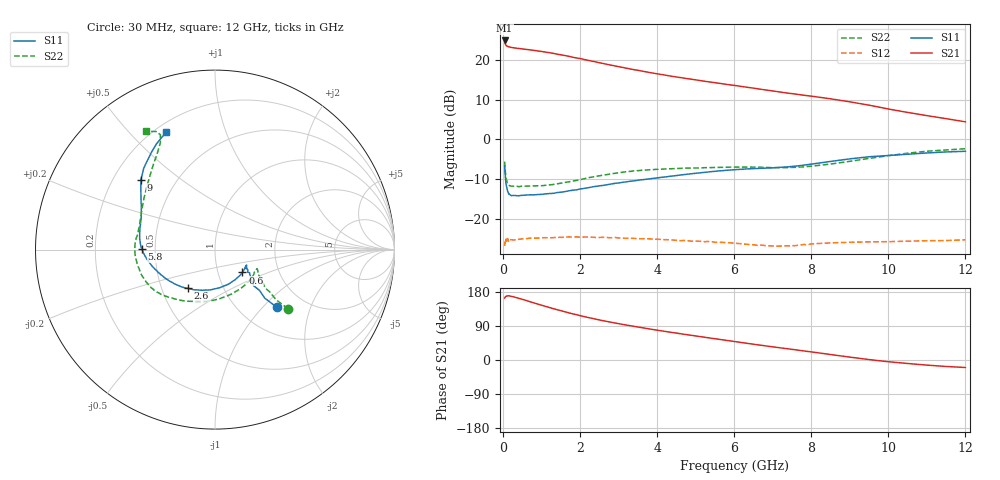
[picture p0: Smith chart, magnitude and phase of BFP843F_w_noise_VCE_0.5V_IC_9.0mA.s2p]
! Infineon Technologies  Discrete & RF Semiconductors
! BFP843F
! VCE =  0.5 V,  IC =  9.0 mA
! Common Emitter S-Parameters:  Aug 2013
# GHz  S  MA  R  50
!  f  S11  S21  S12  S22
! GHz  MAG  ANG  MAG  ANG  MAG  ANG  MAG  ANG
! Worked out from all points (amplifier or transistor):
!   103 points, 30 MHz to 12 GHz, reference 50 ohm
!   highest |S21| = 24.9 dB at 30 MHz (marker M1)
!   |S21| within 3 dB of that: start of sweep to 1.136 GHz
!   unconditionally stable (mu >= 1): 191.2 MHz to 474.6 MHz; 3.479 GHz to end of sweep
!   at 400 MHz: K = 1.00, MAG = 23.6 dB, |S12| = -25.2 dB
!   at 3.7 GHz: K = 1.02, MAG = 20.2 dB, |S12| = -25.0 dB
!   at 12 GHz: K = 1.47, MAG = 10.8 dB, |S12| = -25.3 dB
!   lowest NFmin = 0.79 dB at 450 MHz
!   S11 on the Smith chart (normalised r, x): 30 MHz: 1.46, -1.20; 600 MHz: 1.31, -0.35; 2.6 GHz: 0.68, -0.31; 5.8 GHz: 0.42, +0.00; 9 GHz: 0.32, +0.36; 12 GHz: 0.25, +0.64
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0.03  0.4705 -43.0  17.59 163.4  0.0454 27.8  0.5243 -39.0
0.04  0.3873 -44.3  16.53 164.2  0.0508 23.1  0.4406 -39.4
0.05  0.3357 -42.5  15.79 166.8  0.0479 21.1  0.385 -37.7
0.06  0.2948 -43.1  15.51 167.7  0.0541 18.1  0.3529 -37.4
0.1  0.2311 -33.8  14.8 169.0  0.0533 11.6  0.2824 -30.3
0.13  0.2106 -31.2  14.65 169.4  0.0519 8.4  0.2687 -27.4
0.6  0.1989 -39.9  13.56 156.7  0.0562 2.6  0.2573 -40.6
0.9  0.2018 -56.1  12.97 147.3  0.057 1.8  0.2603 -57.8
1.3  0.2088 -77.4  12.08 135.3  0.0577 0.6  0.2701 -80.4
1.7  0.2245 -95.4  11.1 124.4  0.059 -1.1  0.2915 -99.3
2.1  0.2411 -110.6  10.13 114.4  0.0589 -2.5  0.3186 -115.3
2.6  0.2633 -125.1  9.002 103.5  0.0583 -3.6  0.3552 -129.2
3.2  0.2918 -138.2  7.854 92.0  0.0567 -5.5  0.3917 -140.7
4.1  0.3323 -155.0  6.562 77.0  0.0548 -7.2  0.4203 -153.4
4.8  0.3647 -166.2  5.785 66.3  0.0527 -7.4  0.4345 -162.3
5.8  0.4077 179.7  4.918 51.7  0.05 -7.6  0.4454 -175.2
6.1  0.4175 175.3  4.702 47.3  0.0487 -7.3  0.4467 -179.3
7  0.4377 161.7  4.066 34.6  0.0453 -2.8  0.4399 168.9
8.5  0.5269 141.6  3.236 14.4  0.0496 4.6  0.4884 144.1
9  0.5673 136.7  2.966 7.6  0.0505 4.5  0.5284 135.0
10.5  0.6485 123.0  2.182 -9.2  0.0521 6.1  0.6684 117.1
12  0.7068 112.5  1.662 -19.8  0.0542 11.5  0.7617 120.1
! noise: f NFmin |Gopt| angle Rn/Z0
0.45  0.79  0.05  13  0.03
0.9  0.8  0.06  29  0.04
1.5  0.85  0.06  47  0.04
1.9  0.9  0.07  67  0.05
2.4  0.94  0.07  83  0.05
3.5  0.99  0.09  117  0.1
5.5  1.1  0.16  -180  0.17
10  1.68  0.36  -116  0.27
